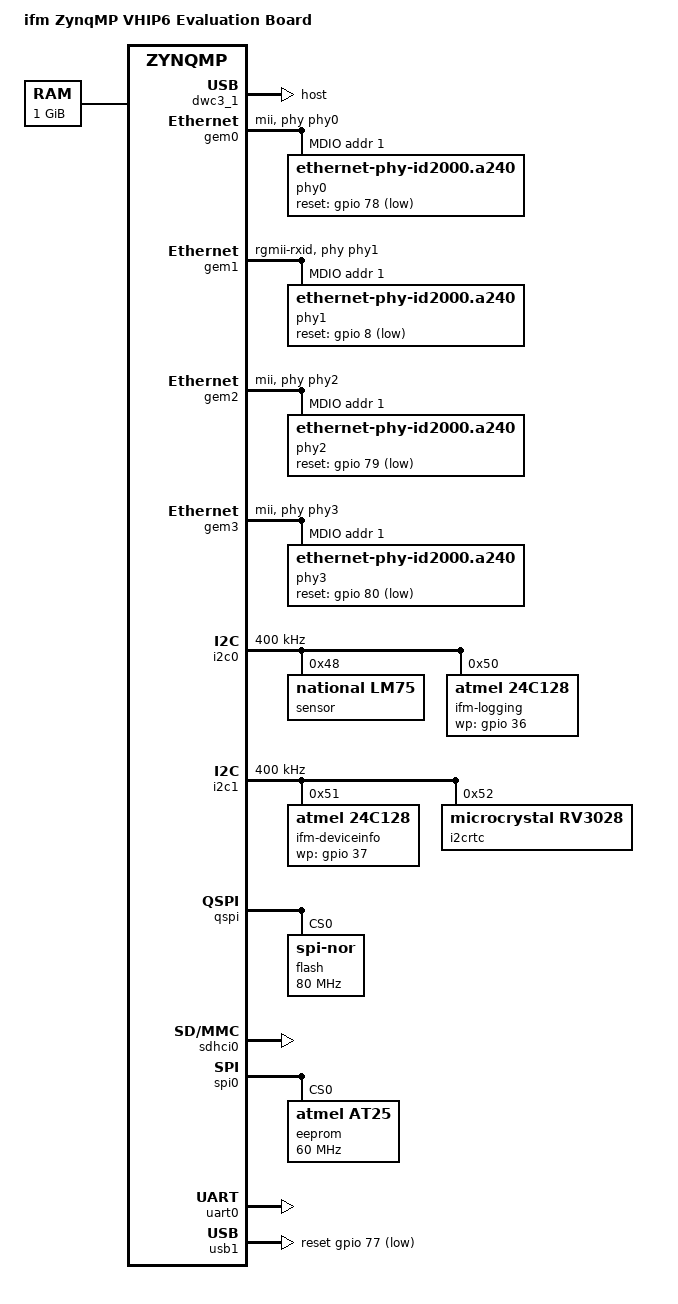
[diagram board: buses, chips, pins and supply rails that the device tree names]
// SPDX-License-Identifier: (GPL-2.0+ OR MIT)
/*
 * ifm Zynq UltraScale+ MPSoC VHIP6 Evaluation Board
 *
 * Copyright (C) 2022-2026 Fedor Ross, ifm ecomatic gmbh
 */

/dts-v1/;

#include <dt-bindings/gpio/gpio.h>
#include <dt-bindings/interrupt-controller/irq.h>
#include <dt-bindings/phy/phy.h>

#include "zynqmp.dtsi"
#include "zynqmp-clk-ccf.dtsi"

/ {
	model = "ifm ZynqMP VHIP6 Evaluation Board";
	compatible = "ifm,zynqmp-vhip6-evalboard", "ifm,zynqmp-vhip6", "xlnx,zynqmp";

	aliases {
		ethernet0 = &gem0;
		ethernet1 = &gem1;
		ethernet2 = &gem2;
		ethernet3 = &gem3;
		gpio0 = &gpio;
		i2c0 = &i2c0;
		i2c1 = &i2c1;
		rtc0 = &i2crtc;
		serial0 = &uart0;
		spi0 = &qspi;
		usb0 = &usb0;
		usb1 = &usb1;
	};

	chosen {
		stdout-path = "serial0:115200n8";
	};

	memory@0 {
		device_type = "memory";
		reg = <0x0 0x0 0x0 0x40000000>;
	};
};

&dwc3_1 {
	dr_mode = "host";
	maximum-speed = "high-speed";
	status = "okay";
};

&gem0 {
	phy-handle = <&phy0>;
	phy-mode = "mii";
	status = "okay";

	mdio0: mdio {
		#address-cells = <1>;
		#size-cells = <0>;

		phy0: phy@1 {	/* TI DP83822I */
			compatible = "ethernet-phy-id2000.a240",
				     "ethernet-phy-ieee802.3-c45";
			reg = <1>;
			reset-gpios = <&gpio 78 GPIO_ACTIVE_LOW>;
			reset-assert-us = <10>;
			reset-deassert-us = <10>;
		};
	};
};

&gem1 {
	phy-handle = <&phy1>;
	phy-mode = "rgmii-rxid";
	status = "okay";

	mdio1: mdio {
		#address-cells = <1>;
		#size-cells = <0>;

		phy1: phy@1 {	/* TI DP83822I */
			compatible = "ethernet-phy-id2000.a240",
				     "ethernet-phy-ieee802.3-c45";
			reg = <1>;
			max-speed = <100>;
			reset-gpios = <&gpio 8 GPIO_ACTIVE_LOW>;
			reset-assert-us = <10>;
			reset-deassert-us = <10>;
			tx-internal-delay-ps = <1>;
		};
	};
};

&gem2 {
	phy-handle = <&phy2>;
	phy-mode = "mii";
	status = "okay";

	mdio2: mdio {
		#address-cells = <1>;
		#size-cells = <0>;

		phy2: phy@1 {	/* TI DP83822I */
			compatible = "ethernet-phy-id2000.a240",
				     "ethernet-phy-ieee802.3-c45";
			reg = <1>;
			reset-gpios = <&gpio 79 GPIO_ACTIVE_LOW>;
			reset-assert-us = <10>;
			reset-deassert-us = <10>;
		};
	};
};

&gem3 {
	phy-handle = <&phy3>;
	phy-mode = "mii";
	status = "okay";

	mdio3: mdio {
		#address-cells = <1>;
		#size-cells = <0>;

		phy3: phy@1 {	/* TI DP83822I */
			compatible = "ethernet-phy-id2000.a240",
				     "ethernet-phy-ieee802.3-c45";
			reg = <1>;
			reset-gpios = <&gpio 80 GPIO_ACTIVE_LOW>;
			reset-assert-us = <10>;
			reset-deassert-us = <10>;
		};
	};
};

&i2c0 {
	clock-frequency = <400000>;
	status = "okay";

	sensor@48 {
		compatible = "national,lm75";
		reg = <0x48>;
	};

	eeprom@50 {
		compatible = "atmel,24c128";
		reg = <0x50>;
		label = "ifm-logging";
		wp-gpios = <&gpio 36 GPIO_ACTIVE_HIGH>;
	};
};

&i2c1 {
	clock-frequency = <400000>;
	status = "okay";

	eeprom@51 {
		compatible = "atmel,24c128";
		reg = <0x51>;
		label = "ifm-deviceinfo";
		wp-gpios = <&gpio 37 GPIO_ACTIVE_HIGH>;

		nvmem-layout {
			compatible = "fixed-layout";
			#address-cells = <1>;
			#size-cells = <1>;

			vhip-signature@0 {
				reg = <0x0 0x4>;
			};

			vhip-version@4 {
				reg = <0x4 0x4>;
			};

			vhip-size@8 {
				reg = <0x8 0x4>;
			};

			device-serial@c {
				reg = <0xc 0x10>;
			};

			order-number@1c {
				reg = <0x1c 0x20>;
			};

			article-name@3c {
				reg = <0x3c 0x20>;
			};

			article-rev@5c {
				reg = <0x5c 0x4>;
			};

			hardware-rev@60 {
				reg = <0x60 0x4>;
			};

			product-type@64 {
				reg = <0x64 0x20>;
			};

			software-compatibility@84 {
				reg = <0x84 0x4>;
			};

			manufacturing-date@88 {
				reg = <0x88 0x20>;
			};

			production-order-number@a8 {
				reg = <0xa8 0x20>;
			};

			/* Each MAC address is padded to 8 Bytes */
			cfg_eeprom_mac1: mac-address-1@c8 {
				reg = <0xc8 0x8>;
			};

			cfg_eeprom_mac2: mac-address-2@d0 {
				reg = <0xd0 0x8>;
			};

			cfg_eeprom_mac3: mac-address-3@d8 {
				reg = <0xd8 0x8>;
			};

			cfg_eeprom_mac4: mac-address-4@e0 {
				reg = <0xe0 0x8>;
			};

			cfg_eeprom_mac5: mac-address-5@e8 {
				reg = <0xe8 0x8>;
			};

			cfg_eeprom_mac6: mac-address-6@f0 {
				reg = <0xf0 0x8>;
			};

			cfg_eeprom_mac7: mac-address-7@f8 {
				reg = <0xf8 0x8>;
			};

			cfg_eeprom_mac8: mac-address-8@100 {
				reg = <0x100 0x8>;
			};

			next-block-offset@108 {
				reg = <0x108 0x4>;
			};

			section-crc@10c {
				reg = <0x10c 0x4>;
			};
		};
	};

	i2crtc: rtc@52 {
		compatible = "microcrystal,rv3028";
		reg = <0x52>;
	};
};

&qspi {
	status = "okay";

	flash@0 {
		compatible = "jedec,spi-nor";
		reg = <0x0>;
		spi-max-frequency = <80000000>;
		spi-tx-bus-width = <1>;
		spi-rx-bus-width = <4>;
	};
};

&sdhci0 {
	xlnx,mio-bank = <0x0>;
	status = "okay";
};

&spi0 {
	status = "okay";

	eeprom@0 {
		compatible = "atmel,at25";
		reg = <0x0>;
		address-width = <16>;
		pagesize = <64>;
		size = <32768>;
		spi-max-frequency = <60000000>;
	};
};

&uart0 {
	status = "okay";
};

&usb1 {
	reset-gpios = <&gpio 77 GPIO_ACTIVE_LOW>;
	status = "okay";
};
